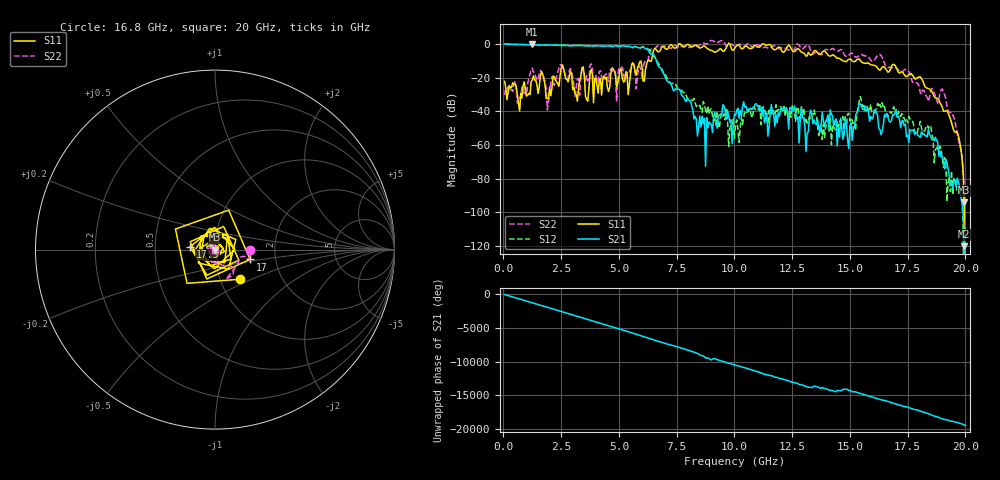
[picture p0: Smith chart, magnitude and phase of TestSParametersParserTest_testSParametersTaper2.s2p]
! File created by SignalIntegrity v1.5.1: Signal and Power Integrity Tools
! https://github.com/Nubis-Communications/SignalIntegrity
# MHz S MA R 50.0
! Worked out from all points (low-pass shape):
!   400 points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, 50 MHz to 20 GHz, reference 50 ohm
!   highest |S21| = 0.07 dB at 1.25 GHz (marker M1); lowest = -120.0 dB at 19.95 GHz (marker M2)
!   |S21| within 3 dB of the highest: start of sweep to 6.182 GHz
!   lowest |S11| = -94.0 dB at 19.95 GHz (marker M3), VSWR 1.00, Z = 50 + j0.000125 ohm
!   |S11| at or under -10 dB: start of sweep to 6.25 GHz; 14.7 GHz to 14.88 GHz (182.8 MHz wide, 1.24 % of centre); 15.47 GHz to end of sweep (the widest 3 of 5)
!   |S22| runs from - to 2.1 dB; largest |S21 - S12| = 0.12
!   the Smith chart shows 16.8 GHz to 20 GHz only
!   S11 on the Smith chart (normalised r, x): 16.8 GHz: 1.25, -0.43; 17 GHz: 1.47, -0.17; 17.3 GHz: 0.76, +0.02; 20 GHz: 1.00, +0.00
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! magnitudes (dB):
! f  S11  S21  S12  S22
! 50 MHz  -22.2  0.0  0.0  -30.2
! 1.25 GHz  -21.4  0.1  0.3  -14.5
! 1.9 GHz  -32.4  -0.6  -0.6  -39.1
! 3.4 GHz  -14.1  -1.0  -0.8  -15.5
! 4.9 GHz  -25.6  -1.2  -1.2  -33.8
! 6.7 GHz  -4.7  -13.0  -11.4  -0.9
! 8.7 GHz  -1.2  -44.1  -35.5  0.4
! 8.75 GHz  -1.8  -72.6  -39.5  0.0
! 8.8 GHz  -2.5  -43.7  -41.4  -0.1
! 10.05 GHz  -1.7  -42.3  -47.5  -1.4
! 12.6 GHz  -4.6  -36.8  -40.6  -3.2
! 12.8 GHz  -3.3  -58.8  -42.7  -0.9
! 12.9 GHz  -4.9  -38.1  -37.3  -2.7
! 13.1 GHz  -7.2  -63.8  -44.3  -1.1
! 13.35 GHz  -6.4  -41.6  -42.0  -5.4
! 16.7 GHz  -16.4  -45.8  -41.1  -13.8
! 16.8 GHz  -13.3  -45.5  -41.3  -14.2
! 17 GHz  -13.8  -38.9  -40.9  -14.2
! 17.3 GHz  -17.1  -45.5  -43.9  -16.2
! 19 GHz  -37.6  -66.8  -68.3  -26.7
! 19.95 GHz  -94.0  -120.0  -  -84.2
! 20 GHz  -  -  -  -
